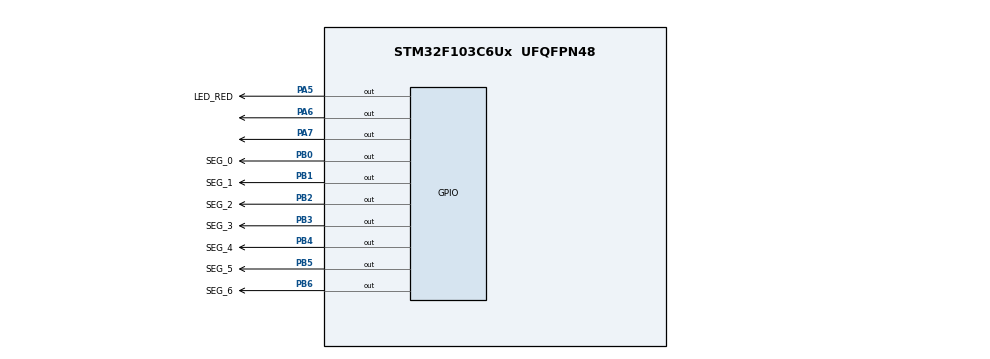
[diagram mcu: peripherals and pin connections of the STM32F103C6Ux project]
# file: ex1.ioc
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Mcu.Family=STM32F1
Mcu.Name=STM32F103C6Ux
Mcu.Package=UFQFPN48
NVIC.PriorityGroup=NVIC_PRIORITYGROUP_4
NVIC.TIM2_IRQn=true\:0\:0\:false\:false\:true\:true\:true
PA5.GPIO_Label=LED_RED
PA5.Signal=GPIO_Output
PA6.Signal=GPIO_Output
PA7.Signal=GPIO_Output
PB0.GPIO_Label=SEG_0
PB0.Signal=GPIO_Output
PB1.GPIO_Label=SEG_1
PB1.Signal=GPIO_Output
PB2.GPIO_Label=SEG_2
PB2.Signal=GPIO_Output
PB3.GPIO_Label=SEG_3
PB3.Signal=GPIO_Output
PB4.GPIO_Label=SEG_4
PB4.Signal=GPIO_Output
PB5.GPIO_Label=SEG_5
PB5.Signal=GPIO_Output
PB6.GPIO_Label=SEG_6
PB6.Signal=GPIO_Output
ProjectManager.HeapSize=0x200
ProjectManager.StackSize=0x400
ProjectManager.TargetToolchain=STM32CubeIDE
RCC.APB1Freq_Value=8000000
RCC.APB2Freq_Value=8000000
TIM2.Period=9
TIM2.Prescaler=7999
VP_SYS_VS_ND.Mode=No_Debug
VP_TIM2_VS_ClockSourceINT.Mode=Internal
board=custom

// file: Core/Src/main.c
/* USER CODE BEGIN Header */
/**
  ******************************************************************************
  * @file           : main.c
  * @brief          : Main program body
  ******************************************************************************
  * @attention
  *
  * <h2><center>&copy; Copyright (c) 2026 STMicroelectronics.
  * All rights reserved.</center></h2>
  *
  * This software component is licensed by ST under BSD 3-Clause license,
  * the "License"; You may not use this file except in compliance with the
  * License. You may obtain a copy of the License at:
  *                        opensource.org/licenses/BSD-3-Clause
  *
  ******************************************************************************
  */
/* USER CODE END Header */
#include "main.h"

TIM_HandleTypeDef htim2;

void SystemClock_Config(void);
static void MX_GPIO_Init(void);
static void MX_TIM2_Init(void);

/* USER CODE BEGIN 0 */
const uint8_t led7seg[10] = {0x40, 0x79, 0x24, 0x30, 0x19, 0x12, 0x02, 0x78, 0x00, 0x10};
void display7SEG(int num) {
    if (num < 0 || num > 9) return;

    uint8_t display_code = led7seg[num];

    HAL_GPIO_WritePin(GPIOB, GPIO_PIN_0, (display_code >> 0) & 0x01);
    HAL_GPIO_WritePin(GPIOB, GPIO_PIN_1, (display_code >> 1) & 0x01);
    HAL_GPIO_WritePin(GPIOB, GPIO_PIN_2, (display_code >> 2) & 0x01);
    HAL_GPIO_WritePin(GPIOB, GPIO_PIN_3, (display_code >> 3) & 0x01);
    HAL_GPIO_WritePin(GPIOB, GPIO_PIN_4, (display_code >> 4) & 0x01);
    HAL_GPIO_WritePin(GPIOB, GPIO_PIN_5, (display_code >> 5) & 0x01);
    HAL_GPIO_WritePin(GPIOB, GPIO_PIN_6, (display_code >> 6) & 0x01);
}
/* USER CODE END 0 */
int main(void)
{

  /* MCU Configuration--------------------------------------------------------*/

  /* Reset of all peripherals, Initializes the Flash interface and the Systick. */
  HAL_Init();

  /* Configure the system clock */
  SystemClock_Config();

  /* Initialize all configured peripherals */
  MX_GPIO_Init();
  MX_TIM2_Init();
  /* USER CODE BEGIN 2 */

  HAL_TIM_Base_Start_IT(&htim2);
  /* USER CODE END 2 */  /* Infinite loop */
  while (1)
  {

  }
}

void SystemClock_Config(void)
{
  RCC_OscInitTypeDef RCC_OscInitStruct = {0};
  RCC_ClkInitTypeDef RCC_ClkInitStruct = {0};

  /** Initializes the RCC Oscillators according to the specified parameters
  * in the RCC_OscInitTypeDef structure.
  */
  RCC_OscInitStruct.OscillatorType = RCC_OSCILLATORTYPE_HSI;
  RCC_OscInitStruct.HSIState = RCC_HSI_ON;
  RCC_OscInitStruct.HSICalibrationValue = RCC_HSICALIBRATION_DEFAULT;
  RCC_OscInitStruct.PLL.PLLState = RCC_PLL_NONE;
  if (HAL_RCC_OscConfig(&RCC_OscInitStruct) != HAL_OK)
  {
    Error_Handler();
  }
  /** Initializes the CPU, AHB and APB buses clocks
  */
  RCC_ClkInitStruct.ClockType = RCC_CLOCKTYPE_HCLK|RCC_CLOCKTYPE_SYSCLK
                              |RCC_CLOCKTYPE_PCLK1|RCC_CLOCKTYPE_PCLK2;
  RCC_ClkInitStruct.SYSCLKSource = RCC_SYSCLKSOURCE_HSI;
  RCC_ClkInitStruct.AHBCLKDivider = RCC_SYSCLK_DIV1;
  RCC_ClkInitStruct.APB1CLKDivider = RCC_HCLK_DIV1;
  RCC_ClkInitStruct.APB2CLKDivider = RCC_HCLK_DIV1;

  if (HAL_RCC_ClockConfig(&RCC_ClkInitStruct, FLASH_LATENCY_0) != HAL_OK)
  {
    Error_Handler();
  }
}

static void MX_TIM2_Init(void)
{

  TIM_ClockConfigTypeDef sClockSourceConfig = {0};
  TIM_MasterConfigTypeDef sMasterConfig = {0};

  htim2.Instance = TIM2;
  htim2.Init.Prescaler = 7999;
  htim2.Init.CounterMode = TIM_COUNTERMODE_UP;
  htim2.Init.Period = 9;
  htim2.Init.ClockDivision = TIM_CLOCKDIVISION_DIV1;
  htim2.Init.AutoReloadPreload = TIM_AUTORELOAD_PRELOAD_DISABLE;
  if (HAL_TIM_Base_Init(&htim2) != HAL_OK)
  {
    Error_Handler();
  }
  sClockSourceConfig.ClockSource = TIM_CLOCKSOURCE_INTERNAL;
  if (HAL_TIM_ConfigClockSource(&htim2, &sClockSourceConfig) != HAL_OK)
  {
    Error_Handler();
  }
  sMasterConfig.MasterOutputTrigger = TIM_TRGO_RESET;
  sMasterConfig.MasterSlaveMode = TIM_MASTERSLAVEMODE_DISABLE;
  if (HAL_TIMEx_MasterConfigSynchronization(&htim2, &sMasterConfig) != HAL_OK)
  {
    Error_Handler();
  }

}

static void MX_GPIO_Init(void)
{
  GPIO_InitTypeDef GPIO_InitStruct = {0};

  /* GPIO Ports Clock Enable */
  __HAL_RCC_GPIOA_CLK_ENABLE();
  __HAL_RCC_GPIOB_CLK_ENABLE();

  /*Configure GPIO pin Output Level */
  HAL_GPIO_WritePin(GPIOA, LED_RED_Pin|GPIO_PIN_6|GPIO_PIN_7, GPIO_PIN_RESET);

  /*Configure GPIO pin Output Level */
  HAL_GPIO_WritePin(GPIOB, SEG_0_Pin|SEG_1_Pin|SEG_2_Pin|SEG_3_Pin
                          |SEG_4_Pin|SEG_5_Pin|SEG_6_Pin, GPIO_PIN_RESET);

  /*Configure GPIO pins : LED_RED_Pin PA6 PA7 */
  GPIO_InitStruct.Pin = LED_RED_Pin|GPIO_PIN_6|GPIO_PIN_7;
  GPIO_InitStruct.Mode = GPIO_MODE_OUTPUT_PP;
  GPIO_InitStruct.Pull = GPIO_NOPULL;
  GPIO_InitStruct.Speed = GPIO_SPEED_FREQ_LOW;
  HAL_GPIO_Init(GPIOA, &GPIO_InitStruct);

  /*Configure GPIO pins : SEG_0_Pin SEG_1_Pin SEG_2_Pin SEG_3_Pin
                           SEG_4_Pin SEG_5_Pin SEG_6_Pin */
  GPIO_InitStruct.Pin = SEG_0_Pin|SEG_1_Pin|SEG_2_Pin|SEG_3_Pin
                          |SEG_4_Pin|SEG_5_Pin|SEG_6_Pin;
  GPIO_InitStruct.Mode = GPIO_MODE_OUTPUT_PP;
  GPIO_InitStruct.Pull = GPIO_NOPULL;
  GPIO_InitStruct.Speed = GPIO_SPEED_FREQ_LOW;
  HAL_GPIO_Init(GPIOB, &GPIO_InitStruct);

}

/* USER CODE BEGIN 4 */
int led_state = 0;
int counter = 50;

void HAL_TIM_PeriodElapsedCallback(TIM_HandleTypeDef *htim)
{
    if (htim->Instance == TIM2) {
        counter--;

        if (counter <= 0) {
            counter = 50;
//            HAL_GPIO_TogglePin(GPIOA, LED_RED_Pin);
            HAL_GPIO_WritePin(GPIOA, GPIO_PIN_6, GPIO_PIN_SET);
            HAL_GPIO_WritePin(GPIOA, GPIO_PIN_7, GPIO_PIN_SET);

            if (led_state == 0) {
                display7SEG(1);
                HAL_GPIO_WritePin(GPIOA, GPIO_PIN_6, GPIO_PIN_RESET);

                led_state = 1;
            }
            else {
                display7SEG(2);
                HAL_GPIO_WritePin(GPIOA, GPIO_PIN_7, GPIO_PIN_RESET);

                led_state = 0;
            }
        }
    }
}
/* USER CODE END 4 */

void Error_Handler(void)
{
  __disable_irq();
  while (1)
  {
  }
}

/************************ (C) COPYRIGHT STMicroelectronics *****END OF FILE****/
